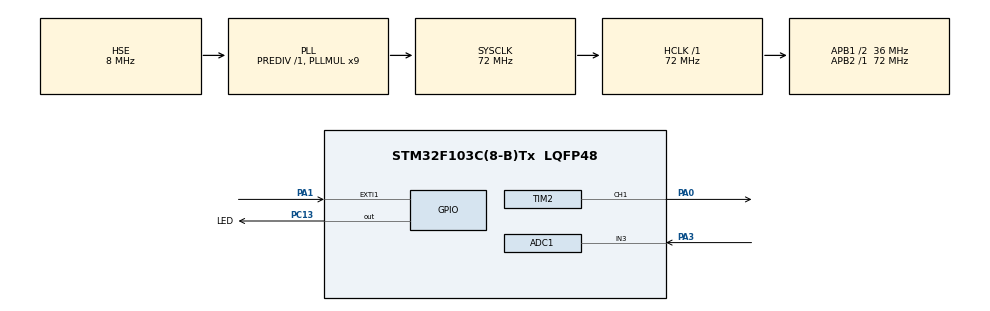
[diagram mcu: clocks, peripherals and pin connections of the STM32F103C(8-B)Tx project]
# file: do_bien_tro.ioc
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ADC1.Channel-4\#ChannelRegularConversion=ADC_CHANNEL_3
ADC1.ContinuousConvMode=ENABLE
ADC1.NbrOfConversionFlag=1
ADC1.Rank-4\#ChannelRegularConversion=1
ADC1.SamplingTime-4\#ChannelRegularConversion=ADC_SAMPLETIME_41CYCLES_5
ADC1.master=1
Mcu.Family=STM32F1
Mcu.Name=STM32F103C(8-B)Tx
Mcu.Package=LQFP48
NVIC.ADC1_2_IRQn=true\:2\:0\:true\:false\:true\:true\:true\:true
NVIC.EXTI1_IRQn=true\:1\:0\:true\:false\:true\:true\:true\:true
NVIC.PriorityGroup=NVIC_PRIORITYGROUP_4
NVIC.TIM2_IRQn=true\:3\:0\:true\:false\:true\:true\:true\:true
PA0-WKUP.Signal=S_TIM2_CH1_ETR
PA1.GPIO_ModeDefaultEXTI=GPIO_MODE_IT_FALLING
PA1.GPIO_PuPd=GPIO_PULLUP
PA1.Signal=GPXTI1
PA13.Mode=Serial_Wire
PA13.Signal=SYS_JTMS-SWDIO
PA14.Mode=Serial_Wire
PA14.Signal=SYS_JTCK-SWCLK
PA3.Signal=ADCx_IN3
PC13-TAMPER-RTC.GPIO_Label=LED
PC13-TAMPER-RTC.GPIO_Speed=GPIO_SPEED_FREQ_HIGH
PC13-TAMPER-RTC.Signal=GPIO_Output
PD0-OSC_IN.Mode=HSE-External-Oscillator
PD0-OSC_IN.Signal=RCC_OSC_IN
PD1-OSC_OUT.Mode=HSE-External-Oscillator
PD1-OSC_OUT.Signal=RCC_OSC_OUT
ProjectManager.HeapSize=0x200
ProjectManager.StackSize=0x400
ProjectManager.TargetToolchain=MDK-ARM V5.32
RCC.ADCPresc=RCC_ADCPCLK2_DIV6
RCC.AHBFreq_Value=72000000
RCC.APB1CLKDivider=RCC_HCLK_DIV2
RCC.APB1Freq_Value=36000000
RCC.APB1TimFreq_Value=72000000
RCC.APB2Freq_Value=72000000
RCC.APB2TimFreq_Value=72000000
RCC.HCLKFreq_Value=72000000
RCC.PLLMUL=RCC_PLL_MUL9
RCC.PLLSourceVirtual=RCC_PLLSOURCE_HSE
RCC.SYSCLKFreq_VALUE=72000000
RCC.SYSCLKSource=RCC_SYSCLKSOURCE_PLLCLK
RCC.USBFreq_Value=72000000
SH.ADCx_IN3.0=ADC1_IN3,IN3
SH.S_TIM2_CH1_ETR.0=TIM2_CH1,PWM Generation1 CH1
TIM1.Prescaler=71
TIM2.Channel-PWM\ Generation1\ CH1=TIM_CHANNEL_1
TIM2.Period=999
TIM2.Prescaler=71
VP_TIM1_VS_ClockSourceINT.Mode=Internal
VP_TIM2_VS_ClockSourceINT.Mode=Internal
board=custom

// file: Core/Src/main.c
/* USER CODE BEGIN Header */
/**
  ******************************************************************************
  * @file           : main.c
  * @brief          : Main program body
  ******************************************************************************
  * @attention
  *
  * Copyright (c) 2022 STMicroelectronics.
  * All rights reserved.
  *
  * This software is licensed under terms that can be found in the LICENSE file
  * in the root directory of this software component.
  * If no LICENSE file comes with this software, it is provided AS-IS.
  *
  ******************************************************************************
  */
/* USER CODE END Header */
#include "main.h"

 ADC_HandleTypeDef hadc1;

TIM_HandleTypeDef htim1;
TIM_HandleTypeDef htim2;

void SystemClock_Config(void);
static void MX_GPIO_Init(void);
static void MX_ADC1_Init(void);
static void MX_TIM1_Init(void);
static void MX_TIM2_Init(void);

/* USER CODE BEGIN 0 */
	#define MAX_SAMPLE 30

	typedef struct
	{
		uint8_t index;			// gia tri dem tu 1 den 30
		uint8_t flag;			// d?ng flag khi dã tính du?c trung bình
		uint32_t val;			// giá tr? trung bình
		uint32_t tAdc;			// th?i gian ADC ho?t d?ng
		uint32_t	sum;			// t?ng các giá tr? do du?c
		uint32_t dis;
	}ADC_TypeDef_t;

	ADC_TypeDef_t adc;

	void HAL_ADC_ConvCpltCallback(ADC_HandleTypeDef*hadc)
	{
		adc.sum += HAL_ADC_GetValue(hadc);
		adc.index++;
		if(adc.index == (MAX_SAMPLE - 1))
		{
			adc.val = adc.sum/MAX_SAMPLE;

			adc.dis = ((adc.val)/4095)*520;
			adc.sum = 0;
			adc.flag = 1;
			adc.index = 0;
		}
		HAL_ADC_Stop_IT(hadc);	// tat ngat ADC
	}
/* USER CODE END 0 */

int main(void)
{

  /* MCU Configuration--------------------------------------------------------*/

  /* Reset of all peripherals, Initializes the Flash interface and the Systick. */

  HAL_Init();

  /* Configure the system clock */
  SystemClock_Config();

  /* Initialize all configured peripherals */
  MX_GPIO_Init();
  MX_ADC1_Init();
  MX_TIM1_Init();
  MX_TIM2_Init();
  /* USER CODE BEGIN 2 */
		HAL_ADCEx_Calibration_Start(&hadc1);

  /* USER CODE END 2 */

  /* Infinite loop */
  while (1)
  {

    /* USER CODE BEGIN 3 */
		if(HAL_GetTick() - adc.tAdc >= 10)		// c? 10 us l?y m?u 1 l?n
		{
			HAL_ADC_Start_IT(&hadc1);
			adc.tAdc = HAL_GetTick();
		}
		if(adc.flag)
		{
			adc.flag = 0;

				HAL_GPIO_WritePin(GPIOC, GPIO_PIN_13, GPIO_PIN_RESET);
				HAL_Delay(100);
				HAL_GPIO_WritePin(GPIOC, GPIO_PIN_13, GPIO_PIN_SET);
				HAL_Delay(500);
		}

  }
  /* USER CODE END 3 */
}

void SystemClock_Config(void)
{
  RCC_OscInitTypeDef RCC_OscInitStruct = {0};
  RCC_ClkInitTypeDef RCC_ClkInitStruct = {0};
  RCC_PeriphCLKInitTypeDef PeriphClkInit = {0};

  /** Initializes the RCC Oscillators according to the specified parameters
  * in the RCC_OscInitTypeDef structure.
  */
  RCC_OscInitStruct.OscillatorType = RCC_OSCILLATORTYPE_HSE;
  RCC_OscInitStruct.HSEState = RCC_HSE_ON;
  RCC_OscInitStruct.HSEPredivValue = RCC_HSE_PREDIV_DIV1;
  RCC_OscInitStruct.HSIState = RCC_HSI_ON;
  RCC_OscInitStruct.PLL.PLLState = RCC_PLL_ON;
  RCC_OscInitStruct.PLL.PLLSource = RCC_PLLSOURCE_HSE;
  RCC_OscInitStruct.PLL.PLLMUL = RCC_PLL_MUL9;
  if (HAL_RCC_OscConfig(&RCC_OscInitStruct) != HAL_OK)
  {
    Error_Handler();
  }

  /** Initializes the CPU, AHB and APB buses clocks
  */
  RCC_ClkInitStruct.ClockType = RCC_CLOCKTYPE_HCLK|RCC_CLOCKTYPE_SYSCLK
                              |RCC_CLOCKTYPE_PCLK1|RCC_CLOCKTYPE_PCLK2;
  RCC_ClkInitStruct.SYSCLKSource = RCC_SYSCLKSOURCE_PLLCLK;
  RCC_ClkInitStruct.AHBCLKDivider = RCC_SYSCLK_DIV1;
  RCC_ClkInitStruct.APB1CLKDivider = RCC_HCLK_DIV2;
  RCC_ClkInitStruct.APB2CLKDivider = RCC_HCLK_DIV1;

  if (HAL_RCC_ClockConfig(&RCC_ClkInitStruct, FLASH_LATENCY_2) != HAL_OK)
  {
    Error_Handler();
  }
  PeriphClkInit.PeriphClockSelection = RCC_PERIPHCLK_ADC;
  PeriphClkInit.AdcClockSelection = RCC_ADCPCLK2_DIV6;
  if (HAL_RCCEx_PeriphCLKConfig(&PeriphClkInit) != HAL_OK)
  {
    Error_Handler();
  }
}

static void MX_ADC1_Init(void)
{

  ADC_ChannelConfTypeDef sConfig = {0};

  /** Common config
  */
  hadc1.Instance = ADC1;
  hadc1.Init.ScanConvMode = ADC_SCAN_DISABLE;
  hadc1.Init.ContinuousConvMode = DISABLE;

  hadc1.Init.DiscontinuousConvMode = DISABLE;
  hadc1.Init.ExternalTrigConv = ADC_SOFTWARE_START;
  hadc1.Init.DataAlign = ADC_DATAALIGN_RIGHT;
  hadc1.Init.NbrOfConversion = 1;
  if (HAL_ADC_Init(&hadc1) != HAL_OK)
  {
    Error_Handler();
  }

  /** Configure Regular Channel
  */
  sConfig.Channel = ADC_CHANNEL_3;
  sConfig.Rank = ADC_REGULAR_RANK_1;
  sConfig.SamplingTime = ADC_SAMPLETIME_41CYCLES_5;
  if (HAL_ADC_ConfigChannel(&hadc1, &sConfig) != HAL_OK)
  {
    Error_Handler();
  }

}

static void MX_TIM1_Init(void)
{

  TIM_ClockConfigTypeDef sClockSourceConfig = {0};
  TIM_MasterConfigTypeDef sMasterConfig = {0};

  htim1.Instance = TIM1;
  htim1.Init.Prescaler = 71;
  htim1.Init.CounterMode = TIM_COUNTERMODE_UP;
  htim1.Init.Period = 65535;
  htim1.Init.ClockDivision = TIM_CLOCKDIVISION_DIV1;
  htim1.Init.RepetitionCounter = 0;
  htim1.Init.AutoReloadPreload = TIM_AUTORELOAD_PRELOAD_DISABLE;
  if (HAL_TIM_Base_Init(&htim1) != HAL_OK)
  {
    Error_Handler();
  }
  sClockSourceConfig.ClockSource = TIM_CLOCKSOURCE_INTERNAL;
  if (HAL_TIM_ConfigClockSource(&htim1, &sClockSourceConfig) != HAL_OK)
  {
    Error_Handler();
  }
  sMasterConfig.MasterOutputTrigger = TIM_TRGO_RESET;
  sMasterConfig.MasterSlaveMode = TIM_MASTERSLAVEMODE_DISABLE;
  if (HAL_TIMEx_MasterConfigSynchronization(&htim1, &sMasterConfig) != HAL_OK)
  {
    Error_Handler();
  }

}

static void MX_TIM2_Init(void)
{

  TIM_ClockConfigTypeDef sClockSourceConfig = {0};
  TIM_MasterConfigTypeDef sMasterConfig = {0};
  TIM_OC_InitTypeDef sConfigOC = {0};

  htim2.Instance = TIM2;
  htim2.Init.Prescaler = 71;
  htim2.Init.CounterMode = TIM_COUNTERMODE_UP;
  htim2.Init.Period = 999;
  htim2.Init.ClockDivision = TIM_CLOCKDIVISION_DIV1;
  htim2.Init.AutoReloadPreload = TIM_AUTORELOAD_PRELOAD_DISABLE;
  if (HAL_TIM_Base_Init(&htim2) != HAL_OK)
  {
    Error_Handler();
  }
  sClockSourceConfig.ClockSource = TIM_CLOCKSOURCE_INTERNAL;
  if (HAL_TIM_ConfigClockSource(&htim2, &sClockSourceConfig) != HAL_OK)
  {
    Error_Handler();
  }
  if (HAL_TIM_PWM_Init(&htim2) != HAL_OK)
  {
    Error_Handler();
  }
  sMasterConfig.MasterOutputTrigger = TIM_TRGO_RESET;
  sMasterConfig.MasterSlaveMode = TIM_MASTERSLAVEMODE_DISABLE;
  if (HAL_TIMEx_MasterConfigSynchronization(&htim2, &sMasterConfig) != HAL_OK)
  {
    Error_Handler();
  }
  sConfigOC.OCMode = TIM_OCMODE_PWM1;
  sConfigOC.Pulse = 0;
  sConfigOC.OCPolarity = TIM_OCPOLARITY_HIGH;
  sConfigOC.OCFastMode = TIM_OCFAST_DISABLE;
  if (HAL_TIM_PWM_ConfigChannel(&htim2, &sConfigOC, TIM_CHANNEL_1) != HAL_OK)
  {
    Error_Handler();
  }
  HAL_TIM_MspPostInit(&htim2);

}

static void MX_GPIO_Init(void)
{
  GPIO_InitTypeDef GPIO_InitStruct = {0};

  /* GPIO Ports Clock Enable */
  __HAL_RCC_GPIOC_CLK_ENABLE();
  __HAL_RCC_GPIOD_CLK_ENABLE();
  __HAL_RCC_GPIOA_CLK_ENABLE();

  /*Configure GPIO pin Output Level */
  HAL_GPIO_WritePin(LED_GPIO_Port, LED_Pin, GPIO_PIN_RESET);

  /*Configure GPIO pin : LED_Pin */
  GPIO_InitStruct.Pin = LED_Pin;
  GPIO_InitStruct.Mode = GPIO_MODE_OUTPUT_PP;
  GPIO_InitStruct.Pull = GPIO_NOPULL;
  GPIO_InitStruct.Speed = GPIO_SPEED_FREQ_HIGH;
  HAL_GPIO_Init(LED_GPIO_Port, &GPIO_InitStruct);

  /*Configure GPIO pin : PA1 */
  GPIO_InitStruct.Pin = GPIO_PIN_1;
  GPIO_InitStruct.Mode = GPIO_MODE_IT_FALLING;
  GPIO_InitStruct.Pull = GPIO_PULLUP;
  HAL_GPIO_Init(GPIOA, &GPIO_InitStruct);

  /* EXTI interrupt init*/
  HAL_NVIC_SetPriority(EXTI1_IRQn, 1, 0);
  HAL_NVIC_EnableIRQ(EXTI1_IRQn);

}

void Error_Handler(void)
{
  __disable_irq();
  while (1)
  {
  }
}
